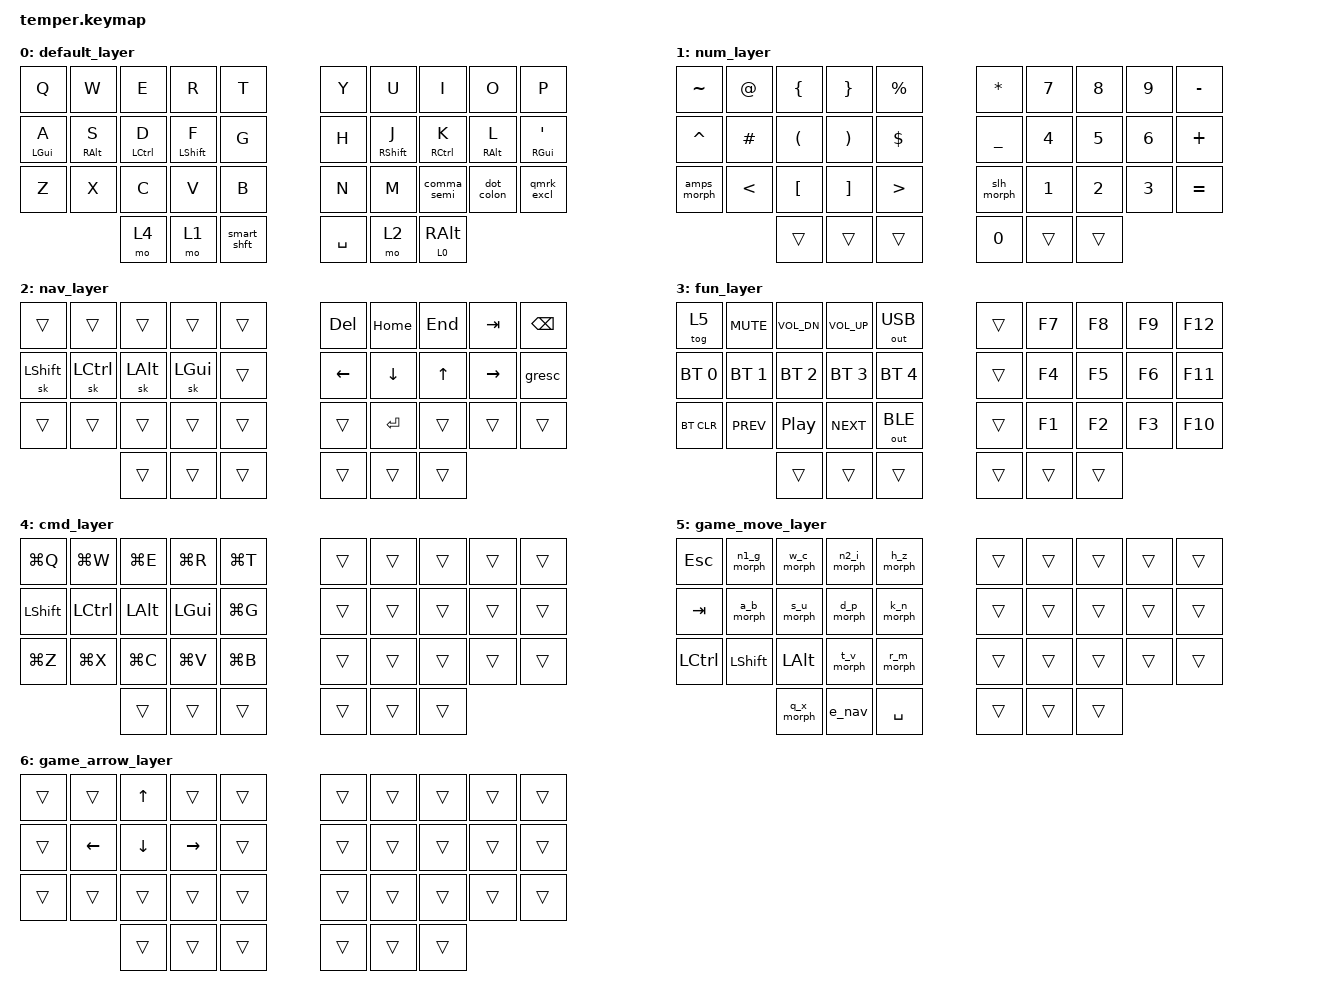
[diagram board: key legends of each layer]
/*
 * Copyright (c) 2020 The ZMK Contributors
 *
 * SPDX-License-Identifier: MIT
 */

#include <behaviors.dtsi>
#include <dt-bindings/zmk/bt.h>
#include <dt-bindings/zmk/keys.h>
#include <dt-bindings/zmk/outputs.h>

/ {
    conditional_layers {
        compatible = "zmk,conditional-layers";

        tri_layer {
            if-layers = <1 2>;
            then-layer = <3>;
        };
    };

    behaviors {
        bspc_del: backspace_delete {
            compatible = "zmk,behavior-mod-morph";
            #binding-cells = <0>;
            bindings = <&kp BACKSPACE>, <&kp DELETE>;

            mods = <(MOD_LSFT|MOD_RSFT)>;
            keep-mods = <(MOD_RSFT)>;
        };

        super_bspc: super_backspace {
            compatible = "zmk,behavior-mod-morph";
            #binding-cells = <0>;
            bindings = <&kp BACKSPACE>, <&kp LA(BACKSPACE)>;

            mods = <(MOD_LSFT|MOD_RSFT)>;
        };

        smart_shft: smart_shift {
            compatible = "zmk,behavior-mod-morph";
            #binding-cells = <0>;
            bindings = <&kp LSHFT>, <&caps_word>;

            mods = <(MOD_LSFT)>;
        };

        comma_semi: comma_semi {
            compatible = "zmk,behavior-mod-morph";
            #binding-cells = <0>;
            bindings = <&kp COMMA>, <&kp SEMI>;

            mods = <(MOD_LSFT)>;
        };

        dot_colon: dot_colon {
            compatible = "zmk,behavior-mod-morph";
            #binding-cells = <0>;
            bindings = <&kp DOT>, <&kp COLON>;

            mods = <(MOD_LSFT)>;
        };

        qmrk_excl: qmrk_excl {
            compatible = "zmk,behavior-mod-morph";
            #binding-cells = <0>;
            bindings = <&kp QMARK>, <&kp EXCL>;

            mods = <(MOD_LSFT)>;
        };

        slh_morph: slh_morph {
            compatible = "zmk,behavior-mod-morph";
            #binding-cells = <0>;
            bindings = <&kp FSLH>, <&kp BSLH>;

            mods = <(MOD_LSFT)>;
        };

        amps_morph: amps_morph {
            compatible = "zmk,behavior-mod-morph";
            #binding-cells = <0>;
            bindings = <&kp AMPS>, <&kp PIPE>;

            mods = <(MOD_LSFT)>;
        };

        w_c_morph: w_c_morph {
            compatible = "zmk,behavior-mod-morph";
            #binding-cells = <0>;
            bindings = <&kp W>, <&kp C>;

            mods = <(MOD_LCTL)>;
        };

        e_nav: e_nav {
            compatible = "zmk,behavior-mod-morph";
            #binding-cells = <0>;
            bindings = <&kp E>, <&mo 6>;

            mods = <(MOD_LCTL)>;
        };

        n1_g_morph: n1_g_morph {
            compatible = "zmk,behavior-mod-morph";
            #binding-cells = <0>;
            bindings = <&kp N1>, <&kp G>;

            mods = <(MOD_LCTL)>;
        };

        n2_i_morph: n2_i_morph {
            compatible = "zmk,behavior-mod-morph";
            #binding-cells = <0>;
            bindings = <&kp N2>, <&kp I>;

            mods = <(MOD_LCTL)>;
        };

        h_z_morph: h_z_morph {
            compatible = "zmk,behavior-mod-morph";
            #binding-cells = <0>;
            bindings = <&kp H>, <&kp Z>;

            mods = <(MOD_LCTL)>;
        };

        a_b_morph: a_b_morph {
            compatible = "zmk,behavior-mod-morph";
            #binding-cells = <0>;
            bindings = <&kp A>, <&kp B>;

            mods = <(MOD_LCTL)>;
        };

        s_u_morph: s_u_morph {
            compatible = "zmk,behavior-mod-morph";
            #binding-cells = <0>;
            bindings = <&kp S>, <&kp U>;

            mods = <(MOD_LCTL)>;
        };

        d_p_morph: d_p_morph {
            compatible = "zmk,behavior-mod-morph";
            #binding-cells = <0>;
            bindings = <&kp D>, <&kp P>;

            mods = <(MOD_LCTL)>;
        };

        k_n_morph: k_n_morph {
            compatible = "zmk,behavior-mod-morph";
            #binding-cells = <0>;
            bindings = <&kp K>, <&kp N>;

            mods = <(MOD_LCTL)>;
        };

        t_v_morph: t_v_morph {
            compatible = "zmk,behavior-mod-morph";
            #binding-cells = <0>;
            bindings = <&kp T>, <&kp V>;

            mods = <(MOD_LCTL)>;
        };

        r_m_morph: r_m_morph {
            compatible = "zmk,behavior-mod-morph";
            #binding-cells = <0>;
            bindings = <&kp R>, <&kp M>;

            mods = <(MOD_LCTL)>;
        };

        q_x_morph: q_x_morph {
            compatible = "zmk,behavior-mod-morph";
            #binding-cells = <0>;
            bindings = <&kp Q>, <&kp X>;

            mods = <(MOD_LCTL)>;
        };

        altgr_def: altgr_default {
            compatible = "zmk,behavior-hold-tap";
            #binding-cells = <2>;
            flavor = "tap-preferred";
            tapping-term-ms = <250>;
            bindings = <&to>, <&sk>;
        };

        hrml: hrml {
            compatible = "zmk,behavior-hold-tap";
            label = "HRML";
            bindings = <&kp>, <&kp>;

            #binding-cells = <2>;
            tapping-term-ms = <280>;
            quick-tap-ms = <175>;
            require-prior-idle-ms = <150>;
            flavor = "balanced";
            hold-trigger-on-release;
            hold-trigger-key-positions = <5 6 7 8 9 15 16 17 18 19 25 26 27 28 29 30 31 32 33 34 35>;
        };

        hrmr: hrmr {
            compatible = "zmk,behavior-hold-tap";
            label = "HRMR";
            bindings = <&kp>, <&kp>;

            #binding-cells = <2>;
            tapping-term-ms = <280>;
            quick-tap-ms = <175>;
            require-prior-idle-ms = <150>;
            flavor = "balanced";
            hold-trigger-key-positions = <0 1 2 3 4 10 11 12 13 14 20 21 22 23 24 30 31 32 33 34 35>;
            hold-trigger-on-release;
        };
    };

    combos {
        compatible = "zmk,combos";

        backspace_combo {
            bindings = <&kp BACKSPACE>;
            key-positions = <8 9>;
            require-prior-idle-ms = <150>;
        };
    };

    keymap {
        compatible = "zmk,keymap";

        default_layer {
            bindings = <
&kp Q         &kp W              &kp E          &kp R          &kp T        &kp Y      &kp U          &kp I              &kp O         &kp P
&hrml LGUI A  &hrml RIGHT_ALT S  &hrml LCTRL D  &hrml LSHFT F  &kp G        &kp H      &hrmr RSHFT J  &hrmr RCTRL K      &hrmr RALT L  &hrmr RGUI APOS
&kp Z         &kp X              &kp C          &kp V          &kp B        &kp N      &kp M          &comma_semi        &dot_colon    &qmrk_excl
                                 &mo 4          &mo 1          &smart_shft  &kp SPACE  &mo 2          &altgr_def 0 RALT
            >;
        };

        num_layer {
            bindings = <
&kp TILDE    &kp AT    &kp LBRC  &kp RBRC  &kp PRCNT  &kp STAR    &kp N7  &kp N8  &kp N9  &kp MINUS
&kp CARET    &kp HASH  &kp LPAR  &kp RPAR  &kp DLLR   &kp UNDER   &kp N4  &kp N5  &kp N6  &kp PLUS
&amps_morph  &kp LT    &kp LBKT  &kp RBKT  &kp GT     &slh_morph  &kp N1  &kp N2  &kp N3  &kp EQUAL
                       &trans    &trans    &trans     &kp N0      &trans  &trans
            >;
        };

        nav_layer {
            bindings = <
&trans     &trans     &trans    &trans    &trans  &kp DEL   &kp HOME  &kp END  &kp TAB    &kp BSPC
&sk LSHFT  &sk LCTRL  &sk LALT  &sk LGUI  &trans  &kp LEFT  &kp DOWN  &kp UP   &kp RIGHT  &gresc
&trans     &trans     &trans    &trans    &trans  &trans    &kp RET   &trans   &trans     &trans
                      &trans    &trans    &trans  &trans    &trans    &trans
            >;
        };

        fun_layer {
            bindings = <
&tog 5        &kp K_MUTE    &kp C_VOL_DN  &kp C_VOL_UP  &out OUT_USB  &trans  &kp F7  &kp F8  &kp F9  &kp F12
&bt BT_SEL 0  &bt BT_SEL 1  &bt BT_SEL 2  &bt BT_SEL 3  &bt BT_SEL 4  &trans  &kp F4  &kp F5  &kp F6  &kp F11
&bt BT_CLR    &kp C_PREV    &kp C_PP      &kp C_NEXT    &out OUT_BLE  &trans  &kp F1  &kp F2  &kp F3  &kp F10
                            &trans        &trans        &trans        &trans  &trans  &trans
            >;
        };

        cmd_layer {
            bindings = <
&kp LG(Q)  &kp LG(W)  &kp LG(E)  &kp LG(R)  &kp LG(T)  &trans  &trans  &trans  &trans  &trans
&kp LSHFT  &kp LCTRL  &kp LALT   &kp LGUI   &kp LG(G)  &trans  &trans  &trans  &trans  &trans
&kp LG(Z)  &kp LG(X)  &kp LG(C)  &kp LG(V)  &kp LG(B)  &trans  &trans  &trans  &trans  &trans
                      &trans     &trans     &trans     &trans  &trans  &trans
            >;
        };

        game_move_layer {
            bindings = <
&kp ESC    &n1_g_morph  &w_c_morph  &n2_i_morph  &h_z_morph  &trans  &trans  &trans  &trans  &trans
&kp TAB    &a_b_morph   &s_u_morph  &d_p_morph   &k_n_morph  &trans  &trans  &trans  &trans  &trans
&kp LCTRL  &kp LSHFT    &kp LALT    &t_v_morph   &r_m_morph  &trans  &trans  &trans  &trans  &trans
                        &q_x_morph  &e_nav       &kp SPACE   &trans  &trans  &trans
            >;
        };

        game_arrow_layer {
            bindings = <
&trans  &trans    &kp UP    &trans     &trans  &trans  &trans  &trans  &trans  &trans
&trans  &kp LEFT  &kp DOWN  &kp RIGHT  &trans  &trans  &trans  &trans  &trans  &trans
&trans  &trans    &trans    &trans     &trans  &trans  &trans  &trans  &trans  &trans
                  &trans    &trans     &trans  &trans  &trans  &trans
            >;
        };
    };
};
